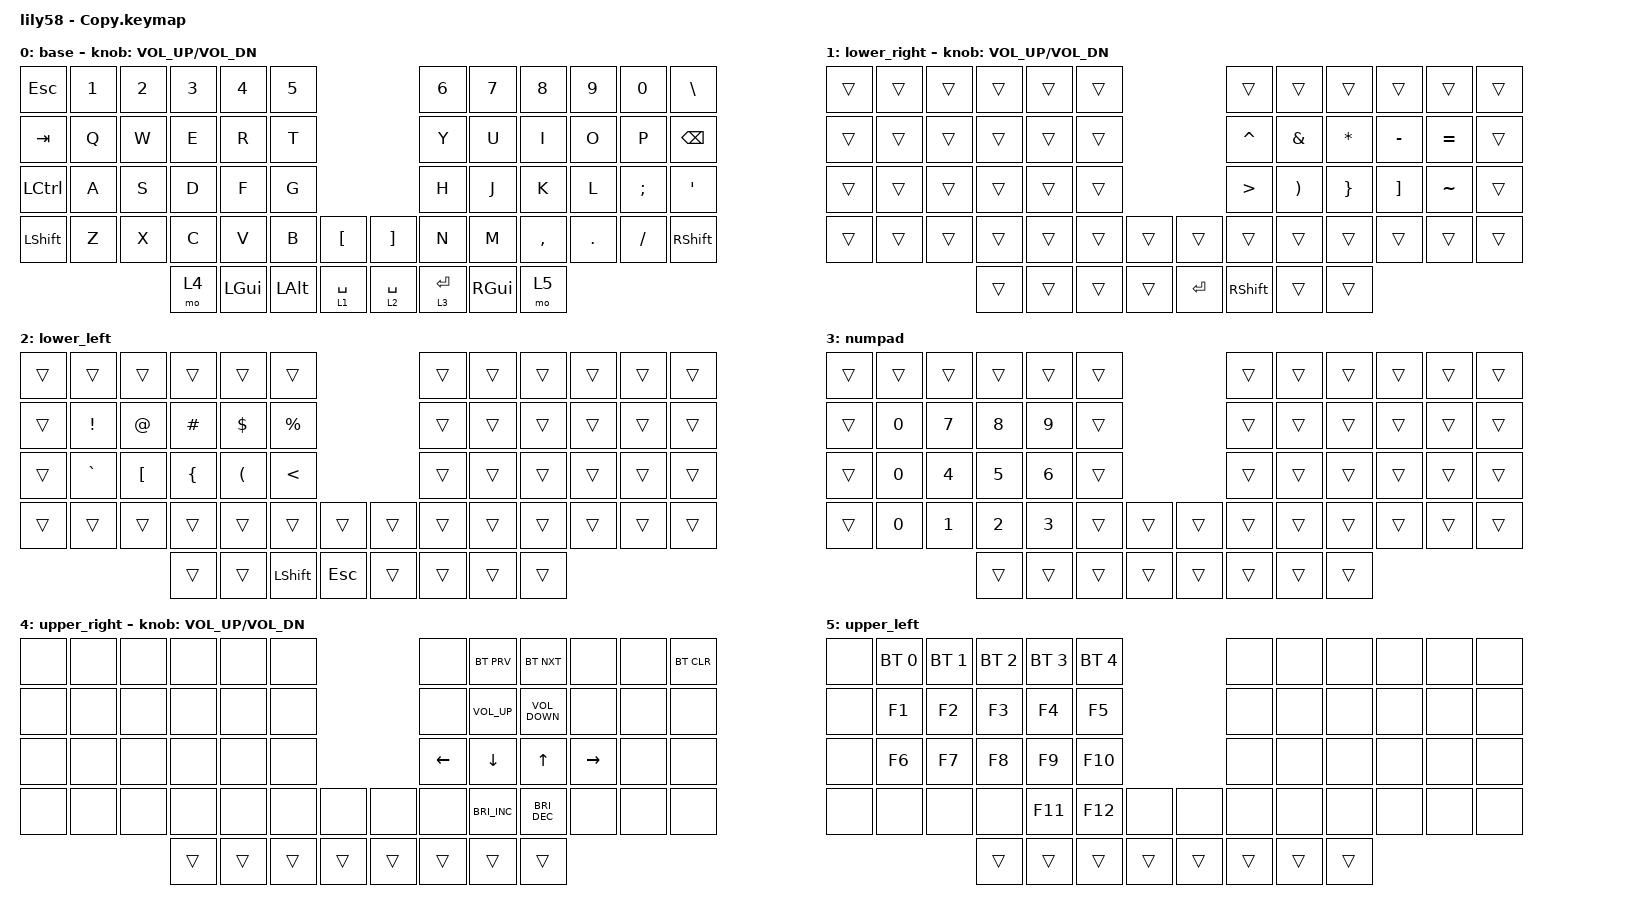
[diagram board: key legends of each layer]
/*
 * Copyright (c) 2020 The ZMK Contributors
 *
 * SPDX-License-Identifier: MIT
 */

#include <behaviors.dtsi>
#include <dt-bindings/zmk/bt.h>
#include <dt-bindings/zmk/keys.h>

/ {
    keymap {
        compatible = "zmk,keymap";

        base {
            // ------------------------------------------------------------------------------------------------------------
            // |  ESC  |  1  |  2  |  3   |  4   |  5   |                   |  6   |  7    |  8    |  9   |   0   |   `   |
            // |  TAB  |  Q  |  W  |  E   |  R   |  T   |                   |  Y   |  U    |  I    |  O   |   P   |   -   |
            // |  CTRL |  A  |  S  |  D   |  F   |  G   |                   |  H   |  J    |  K    |  L   |   ;   |   '   |
            // | SHIFT |  Z  |  X  |  C   |  V   |  B   |   "["  |  |  "]"  |  N   |  M    |  ,    |  .   |   /   | SHIFT |
            //                     | ALT  | GUI  | LOWER|  SPACE |  | ENTER | RAISE| BSPC  | GUI   |

            bindings = <
&kp ESC    &kp N1  &kp N2  &kp N3  &kp N4    &kp N5                                &kp N6        &kp N7    &kp N8     &kp N9   &kp N0    &kp BSLH
&kp TAB    &kp Q   &kp W   &kp E   &kp R     &kp T                                 &kp Y         &kp U     &kp I      &kp O    &kp P     &kp BACKSPACE
&kp LCTRL  &kp A   &kp S   &kp D   &kp F     &kp G                                 &kp H         &kp J     &kp K      &kp L    &kp SEMI  &kp APOS
&kp LSHFT  &kp Z   &kp X   &kp C   &kp V     &kp B     &kp LBKT       &kp RBKT     &kp N         &kp M     &kp COMMA  &kp DOT  &kp FSLH  &kp RSHIFT
                           &mo 4   &kp LGUI  &kp LALT  &lt 1 SPACE    &lt 2 SPACE  &lt 3 RETURN  &kp RGUI  &mo 5
            >;

            sensor-bindings = <&inc_dec_kp C_VOL_UP C_VOL_DN>;
        };

        lower_right {
            // ------------------------------------------------------------------------------------------------------------
            // | BTCLR | BT1 | BT2 |  BT3 |  BT4 |  BT5 |                   |      |       |       |      |       |       |
            // |  F1   |  F2 |  F3 |  F4  |  F5  |  F6  |                   |  F7  |  F8   |  F9   |  F10 |  F11  |  F12  |
            // |   `   |  !  |  @  |  #   |  $   |  %   |                   |  ^   |  &    |  *    |  (   |   )   |   ~   |
            // |       |     |     |      |      |      |        |  |       |      |  _    |  +    |  {   |   }   |  "|"  |
            //                     |      |      |      |        |  |       |      |       |       |

            bindings = <
&trans  &trans  &trans  &trans  &trans  &trans                        &trans            &trans                 &trans           &trans             &trans     &trans
&trans  &trans  &trans  &trans  &trans  &trans                        &kp CARET         &kp AMPS               &kp ASTRK        &kp MINUS          &kp EQUAL  &trans
&trans  &trans  &trans  &trans  &trans  &trans                        &kp GREATER_THAN  &kp RIGHT_PARENTHESIS  &kp RIGHT_BRACE  &kp RIGHT_BRACKET  &kp TILDE  &trans
&trans  &trans  &trans  &trans  &trans  &trans  &trans    &trans      &trans            &trans                 &trans           &trans             &trans     &trans
                        &trans  &trans  &trans  &trans    &kp RETURN  &kp RSHIFT        &trans                 &trans
            >;

            sensor-bindings = <&inc_dec_kp C_VOL_UP C_VOL_DN>;
        };

        lower_left {
            bindings = <
&trans  &trans     &trans            &trans          &trans                &trans                          &trans  &trans  &trans  &trans  &trans  &trans
&trans  &kp EXCL   &kp AT            &kp HASH        &kp DOLLAR            &kp PERCENT                     &trans  &trans  &trans  &trans  &trans  &trans
&trans  &kp GRAVE  &kp LEFT_BRACKET  &kp LEFT_BRACE  &kp LEFT_PARENTHESIS  &kp LT                          &trans  &trans  &trans  &trans  &trans  &trans
&trans  &trans     &trans            &trans          &trans                &trans       &trans     &trans  &trans  &trans  &trans  &trans  &trans  &trans
                                     &trans          &trans                &kp LSHIFT   &kp ESC    &trans  &trans  &trans  &trans
            >;
        };

        numpad {
            bindings = <
&trans  &trans  &trans  &trans  &trans  &trans                    &trans  &trans  &trans  &trans  &trans  &trans
&trans  &kp N0  &kp N7  &kp N8  &kp N9  &trans                    &trans  &trans  &trans  &trans  &trans  &trans
&trans  &kp N0  &kp N4  &kp N5  &kp N6  &trans                    &trans  &trans  &trans  &trans  &trans  &trans
&trans  &kp N0  &kp N1  &kp N2  &kp N3  &trans  &trans    &trans  &trans  &trans  &trans  &trans  &trans  &trans
                        &trans  &trans  &trans  &trans    &trans  &trans  &trans  &trans
            >;
        };

        upper_right {
            // ------------------------------------------------------------------------------------------------------------
            // |       |     |     |      |      |      |                   |      |       |       |      |       |       |
            // |   `   |  1  |  2  |  3   |  4   |  5   |                   |  6   |   7   |   8   |  9   |   0   |       |
            // |   F1  |  F2 |  F3 |  F4  |  F5  |  F6  |                   |      |   <-  |   v   |  ^   |  ->   |       |
            // |   F7  |  F8 |  F9 |  F10 |  F11 |  F12 |        |  |       |  +   |   -   |   =   |  [   |   ]   |   \   |
            //                     |      |      |      |        |  |       |      |       |       |

            bindings = <
&none  &none  &none  &none   &none   &none                     &none     &bt BT_PRV            &bt BT_NXT            &none      &none  &bt BT_CLR
&none  &none  &none  &none   &none   &none                     &none     &kp C_VOLUME_UP       &kp C_VOLUME_DOWN     &none      &none  &none
&none  &none  &none  &none   &none   &none                     &kp LEFT  &kp DOWN              &kp UP                &kp RIGHT  &none  &none
&none  &none  &none  &none   &none   &none   &none     &none   &none     &kp C_BRIGHTNESS_INC  &kp C_BRIGHTNESS_DEC  &none      &none  &none
                     &trans  &trans  &trans  &trans    &trans  &trans    &trans                &trans
            >;

            sensor-bindings = <&inc_dec_kp C_VOL_UP C_VOL_DN>;
        };

        upper_left {
            bindings = <
&none  &bt BT_SEL 0  &bt BT_SEL 1  &bt BT_SEL 2  &bt BT_SEL 3  &bt BT_SEL 4                    &none   &none   &none   &none  &none  &none
&none  &kp F1        &kp F2        &kp F3        &kp F4        &kp F5                          &none   &none   &none   &none  &none  &none
&none  &kp F6        &kp F7        &kp F8        &kp F9        &kp F10                         &none   &none   &none   &none  &none  &none
&none  &none         &none         &none         &kp F11       &kp F12       &none     &none   &none   &none   &none   &none  &none  &none
                                   &trans        &trans        &trans        &trans    &trans  &trans  &trans  &trans
            >;
        };
    };
};
